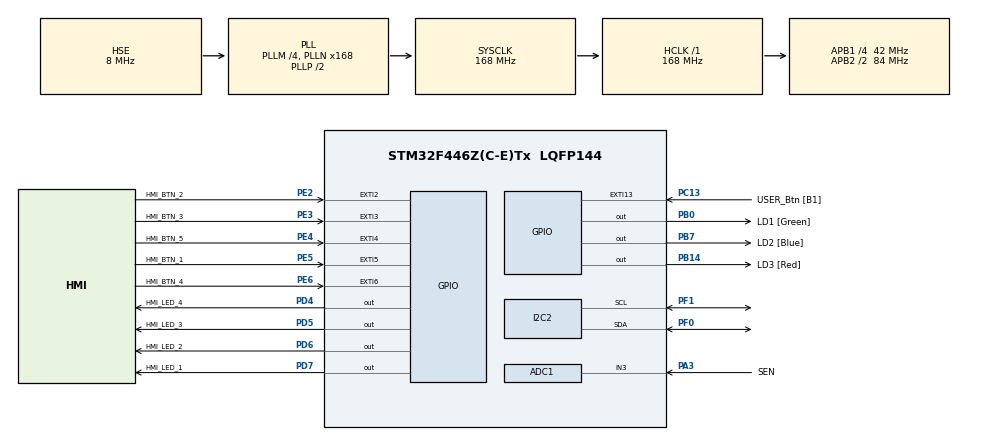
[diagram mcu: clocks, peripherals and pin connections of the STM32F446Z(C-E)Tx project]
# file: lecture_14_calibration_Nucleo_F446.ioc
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ADC1.Channel-0\#ChannelRegularConversion=ADC_CHANNEL_3
ADC1.NbrOfConversionFlag=1
ADC1.Rank-0\#ChannelRegularConversion=1
ADC1.SamplingTime-0\#ChannelRegularConversion=ADC_SAMPLETIME_3CYCLES
ADC1.master=1
Mcu.Family=STM32F4
Mcu.Name=STM32F446Z(C-E)Tx
Mcu.Package=LQFP144
NVIC.EXTI15_10_IRQn=true\:0\:0\:false\:false\:true\:true\:true\:true
NVIC.EXTI2_IRQn=true\:0\:0\:false\:false\:true\:true\:true\:true
NVIC.EXTI3_IRQn=true\:0\:0\:false\:false\:true\:true\:true\:true
NVIC.EXTI4_IRQn=true\:0\:0\:false\:false\:true\:true\:true\:true
NVIC.EXTI9_5_IRQn=true\:0\:0\:false\:false\:true\:true\:true\:true
NVIC.PriorityGroup=NVIC_PRIORITYGROUP_4
NVIC.TIM1_UP_TIM10_IRQn=true\:0\:0\:false\:false\:true\:true\:true\:true
PA13.Mode=Serial_Wire
PA13.Signal=SYS_JTMS-SWDIO
PA14.Mode=Serial_Wire
PA14.Signal=SYS_JTCK-SWCLK
PA3.GPIO_Label=SEN
PA3.Signal=ADCx_IN3
PB0.GPIO_Label=LD1 [Green]
PB0.Signal=GPIO_Output
PB14.GPIO_Label=LD3 [Red]
PB14.Signal=GPIO_Output
PB7.GPIO_Label=LD2 [Blue]
PB7.Signal=GPIO_Output
PC13.GPIO_Label=USER_Btn [B1]
PC13.Signal=GPXTI13
PC14-OSC32_IN.Mode=LSE-External-Oscillator
PC14-OSC32_IN.Signal=RCC_OSC32_IN
PC15-OSC32_OUT.Mode=LSE-External-Oscillator
PC15-OSC32_OUT.Signal=RCC_OSC32_OUT
PD4.GPIO_Label=HMI_LED_4
PD4.GPIO_ModeDefaultOutputPP=GPIO_MODE_OUTPUT_PP
PD4.GPIO_PuPd=GPIO_NOPULL
PD4.GPIO_Speed=GPIO_SPEED_FREQ_LOW
PD4.PinState=GPIO_PIN_RESET
PD4.Signal=GPIO_Output
PD5.GPIO_Label=HMI_LED_3
PD5.GPIO_ModeDefaultOutputPP=GPIO_MODE_OUTPUT_PP
PD5.GPIO_PuPd=GPIO_NOPULL
PD5.GPIO_Speed=GPIO_SPEED_FREQ_LOW
PD5.PinState=GPIO_PIN_RESET
PD5.Signal=GPIO_Output
PD6.GPIO_Label=HMI_LED_2
PD6.GPIO_ModeDefaultOutputPP=GPIO_MODE_OUTPUT_PP
PD6.GPIO_PuPd=GPIO_NOPULL
PD6.GPIO_Speed=GPIO_SPEED_FREQ_LOW
PD6.PinState=GPIO_PIN_RESET
PD6.Signal=GPIO_Output
PD7.GPIO_Label=HMI_LED_1
PD7.GPIO_ModeDefaultOutputPP=GPIO_MODE_OUTPUT_PP
PD7.GPIO_PuPd=GPIO_NOPULL
PD7.GPIO_Speed=GPIO_SPEED_FREQ_LOW
PD7.PinState=GPIO_PIN_RESET
PD7.Signal=GPIO_Output
PE2.GPIO_Label=HMI_BTN_2
PE2.GPIO_ModeDefaultEXTI=GPIO_MODE_IT_RISING_FALLING
PE2.GPIO_PuPd=GPIO_PULLDOWN
PE2.Signal=GPXTI2
PE3.GPIO_Label=HMI_BTN_3
PE3.GPIO_ModeDefaultEXTI=GPIO_MODE_IT_RISING_FALLING
PE3.GPIO_PuPd=GPIO_PULLDOWN
PE3.Signal=GPXTI3
PE4.GPIO_Label=HMI_BTN_5
PE4.GPIO_ModeDefaultEXTI=GPIO_MODE_IT_RISING_FALLING
PE4.GPIO_PuPd=GPIO_PULLDOWN
PE4.Signal=GPXTI4
PE5.GPIO_Label=HMI_BTN_1
PE5.GPIO_ModeDefaultEXTI=GPIO_MODE_IT_RISING_FALLING
PE5.GPIO_PuPd=GPIO_PULLDOWN
PE5.Signal=GPXTI5
PE6.GPIO_Label=HMI_BTN_4
PE6.GPIO_ModeDefaultEXTI=GPIO_MODE_IT_RISING_FALLING
PE6.GPIO_PuPd=GPIO_PULLDOWN
PE6.Signal=GPXTI6
PF0.Mode=I2C
PF0.Signal=I2C2_SDA
PF1.Mode=I2C
PF1.Signal=I2C2_SCL
PH0-OSC_IN.Mode=HSE-External-Clock-Source
PH0-OSC_IN.Signal=RCC_OSC_IN
PH1-OSC_OUT.Mode=HSE-External-Clock-Source
PH1-OSC_OUT.Signal=RCC_OSC_OUT
ProjectManager.HeapSize=0x200
ProjectManager.StackSize=0x400
ProjectManager.TargetToolchain=STM32CubeIDE
RCC.48MHZClocksFreq_Value=24000000
RCC.AHBFreq_Value=168000000
RCC.APB1CLKDivider=RCC_HCLK_DIV4
RCC.APB1Freq_Value=42000000
RCC.APB1TimFreq_Value=84000000
RCC.APB2CLKDivider=RCC_HCLK_DIV2
RCC.APB2Freq_Value=84000000
RCC.APB2TimFreq_Value=168000000
RCC.CortexFreq_Value=168000000
RCC.HCLKFreq_Value=168000000
RCC.HSE_VALUE=8000000
RCC.HSI_VALUE=16000000
RCC.PLLM=4
RCC.PLLMUL=RCC_PLL_MUL9
RCC.PLLN=168
RCC.PLLQ=7
RCC.PLLSourceVirtual=RCC_PLLSOURCE_HSE
RCC.PRESCALERUSB=RCC_USBCLKSOURCE_PLL_DIV1_5
RCC.SYSCLKFreq_VALUE=168000000
RCC.SYSCLKSource=RCC_SYSCLKSOURCE_PLLCLK
RCC.SYSCLKSourceVirtual=RCC_SYSCLKSOURCE_PLLCLK
RCC.USBFreq_Value=48000000
RCC.VCOOutputFreq_Value=336000000
SH.ADCx_IN3.0=ADC1_IN3,IN3
TIM1.Period=500-1
TIM1.Prescaler=16800-1
VP_TIM1_VS_ClockSourceINT.Mode=Internal
board=NUCLEO-F446ZE

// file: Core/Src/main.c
/* USER CODE BEGIN Header */
/**
  ******************************************************************************
  * @file           : main.c
  * @brief          : Main program body
  ******************************************************************************
  * @attention
  *
  * Copyright (c) 2024 STMicroelectronics.
  * All rights reserved.
  *
  * This software is licensed under terms that can be found in the LICENSE file
  * in the root directory of this software component.
  * If no LICENSE file comes with this software, it is provided AS-IS.
  *
  ******************************************************************************
  */
/* USER CODE END Header */
#include "main.h"
#include "adc.h"
#include "i2c.h"
#include "tim.h"
#include "gpio.h"

/* USER CODE BEGIN Includes */
#include "stdbool.h"
#include "OLED.h"
#include "thermistor_misc.h"
/* USER CODE END Includes */

/* USER CODE BEGIN PV */

// display modes
enum Screen
{
	SCRN_Start = 0,
	SCRN_ADC = 1,
};

//display visualization modes
enum ADC_DisplayMode
{
	DM_Temp = 0,
	DM_Diff = 1,
	DM_ConvRes = 2
};

// number of display modes and visualization modes
const unsigned int NUMBER_OF_WORKING_MODES = 2;
const unsigned int NUMBER_OF_DISPLAY_MODES = 3;

// default display and visualization mode
unsigned short current_screen = SCRN_Start;
unsigned short display_mode = DM_Temp;

//variable to store the adc result
uint32_t adc_result = 0;

//variables to store the calculated temperature and correction
float temperature_calculated = 0.0;
float temperature_correction = 0.0;

// variable to store the state of the buttons
bool button_state = true;

/* USER CODE END PV */

void SystemClock_Config(void);

/* USER CODE BEGIN 0 */

// A-D conversion and show the current display
void ConvertAndDisplay()
{
	// variable to store the cumulated adc result
	float cumulated_result = 0.0;

	// number of the samples in the adc conversion
	const unsigned int SAMPLE_NUMBER = 16;
	// variable to check the success of the communication
	HAL_StatusTypeDef error_code = HAL_OK;
	for (unsigned int i = 0;i < SAMPLE_NUMBER;++i)
	{
		// start the analogue-digital conversion
		HAL_ADC_Start(&hadc1);
		error_code = HAL_ADC_PollForConversion(&hadc1, 100);
		if (error_code != HAL_OK)
		{
			DisplayTextAndInteger("Error:", error_code, NoUnit);
			HAL_Delay(1000);
			break;
		}
		cumulated_result += HAL_ADC_GetValue(&hadc1);
	}
	// check the success of the communication
	if (error_code != HAL_OK)
	{
		return;
	}
	// calculate the averaged adc value
	adc_result = cumulated_result/SAMPLE_NUMBER;
	// calculate the temperature from the adc result
	temperature_calculated = CalculateTemperature(adc_result);
	// temperature correction with the calculated correction value
	float temperature = temperature_calculated + temperature_correction;

	// show the result based on the actual visualization mode
	if (display_mode == DM_Temp)
	{
		DisplayTextAndFloat("Temp:", temperature, Celsius);
	}
	else if (display_mode == DM_Diff)
	{
		DisplayTextAndFloat("Diff:", temperature_correction, Celsius);
	}
	else if (display_mode == DM_ConvRes)
	{
		DisplayTextAndInteger("ADC:",  adc_result, NoUnit);
	}
}

/* USER CODE END 0 */

int main(void)
{

  /* MCU Configuration--------------------------------------------------------*/

  /* Reset of all peripherals, Initializes the Flash interface and the Systick. */
  HAL_Init();

  /* Configure the system clock */
  SystemClock_Config();

  /* Initialize all configured peripherals */
  MX_GPIO_Init();
  MX_ADC1_Init();
  MX_TIM1_Init();
  MX_I2C2_Init();
  /* USER CODE BEGIN 2 */

  OLED_SelectDisplay(Display_1);
  OLED_Init();

  /* USER CODE END 2 */

  /* Infinite loop */
  /* USER CODE BEGIN WHILE */
  while (1)
  {
	  // State machine
	  switch (current_screen)
	  {
	  case SCRN_Start:
		  DisplayText("Start", "screen", NoUnit);
		  HAL_Delay(500);
		  break;
	  case SCRN_ADC:
		  ConvertAndDisplay();
		  HAL_Delay(500);
		  break;
	  default:
		  DisplayText("Unknown", "screen", NoUnit);
		  HAL_Delay(500);
		  break;
	  }
    /* USER CODE END WHILE */

  }
}

void SystemClock_Config(void)
{
  RCC_OscInitTypeDef RCC_OscInitStruct = {0};
  RCC_ClkInitTypeDef RCC_ClkInitStruct = {0};

  /** Configure the main internal regulator output voltage
  */
  __HAL_RCC_PWR_CLK_ENABLE();
  __HAL_PWR_VOLTAGESCALING_CONFIG(PWR_REGULATOR_VOLTAGE_SCALE1);

  /** Initializes the RCC Oscillators according to the specified parameters
  * in the RCC_OscInitTypeDef structure.
  */
  RCC_OscInitStruct.OscillatorType = RCC_OSCILLATORTYPE_HSE;
  RCC_OscInitStruct.HSEState = RCC_HSE_BYPASS;
  RCC_OscInitStruct.PLL.PLLState = RCC_PLL_ON;
  RCC_OscInitStruct.PLL.PLLSource = RCC_PLLSOURCE_HSE;
  RCC_OscInitStruct.PLL.PLLM = 4;
  RCC_OscInitStruct.PLL.PLLN = 168;
  RCC_OscInitStruct.PLL.PLLP = RCC_PLLP_DIV2;
  RCC_OscInitStruct.PLL.PLLQ = 7;
  RCC_OscInitStruct.PLL.PLLR = 2;
  if (HAL_RCC_OscConfig(&RCC_OscInitStruct) != HAL_OK)
  {
    Error_Handler();
  }

  /** Initializes the CPU, AHB and APB buses clocks
  */
  RCC_ClkInitStruct.ClockType = RCC_CLOCKTYPE_HCLK|RCC_CLOCKTYPE_SYSCLK
                              |RCC_CLOCKTYPE_PCLK1|RCC_CLOCKTYPE_PCLK2;
  RCC_ClkInitStruct.SYSCLKSource = RCC_SYSCLKSOURCE_PLLCLK;
  RCC_ClkInitStruct.AHBCLKDivider = RCC_SYSCLK_DIV1;
  RCC_ClkInitStruct.APB1CLKDivider = RCC_HCLK_DIV4;
  RCC_ClkInitStruct.APB2CLKDivider = RCC_HCLK_DIV2;

  if (HAL_RCC_ClockConfig(&RCC_ClkInitStruct, FLASH_LATENCY_5) != HAL_OK)
  {
    Error_Handler();
  }
}

/* USER CODE BEGIN 4 */

//timer based button debouncing
void HAL_GPIO_EXTI_Callback(uint16_t GPIO_Pin)
{
	//start timer if the corresponding button has been pressed and no button press is in progress
	if ((GPIO_Pin == HMI_BTN_5_Pin || GPIO_Pin == HMI_BTN_4_Pin || GPIO_Pin == HMI_BTN_3_Pin || GPIO_Pin == HMI_BTN_2_Pin || GPIO_Pin == HMI_BTN_1_Pin) && button_state == true)
	{
		//start the timer
		HAL_TIM_Base_Start_IT(&htim1);
		//disable the buttons
		button_state = false;
	}
	else
	{
		__NOP();
	}
}

// button management
void HAL_TIM_PeriodElapsedCallback(TIM_HandleTypeDef *htim)
{
	// switching between screens
	if (HAL_GPIO_ReadPin(HMI_BTN_1_GPIO_Port, HMI_BTN_1_Pin) == GPIO_PIN_SET)
	{
		current_screen = (current_screen + 1) % NUMBER_OF_WORKING_MODES;
	}
	else if (HAL_GPIO_ReadPin(HMI_BTN_5_GPIO_Port, HMI_BTN_5_Pin) == GPIO_PIN_SET)
	{
		current_screen = (current_screen + NUMBER_OF_WORKING_MODES - 1) % NUMBER_OF_WORKING_MODES;
	}
	// switching between screen visualization modes
	else if (HAL_GPIO_ReadPin(HMI_BTN_4_GPIO_Port, HMI_BTN_4_Pin) == GPIO_PIN_SET && current_screen == SCRN_ADC)
	{
		display_mode = (display_mode + 1) % NUMBER_OF_DISPLAY_MODES;
	}
	else if (HAL_GPIO_ReadPin(HMI_BTN_2_GPIO_Port, HMI_BTN_2_Pin) == GPIO_PIN_SET && current_screen == SCRN_ADC)
	{
		display_mode = (display_mode + NUMBER_OF_DISPLAY_MODES - 1) % NUMBER_OF_DISPLAY_MODES;
	}
	// start the operation
	else if (HAL_GPIO_ReadPin(HMI_BTN_3_GPIO_Port, HMI_BTN_3_Pin) == GPIO_PIN_SET)
	{
		// start the calibration in Temp display mode
		if (current_screen == SCRN_ADC && display_mode == DM_Temp)
		{
			// store the difference between the right and the measured value
			temperature_correction = 0.0 - temperature_calculated;
		}
		// reset the correction value in Diff display mode
		else if (current_screen == SCRN_ADC && display_mode == DM_Diff)
		{
			temperature_correction = 0.0;
		}
	}

	// stop the timer
	HAL_TIM_Base_Stop_IT(&htim1);
	// button enable
	button_state = true;
}
/* USER CODE END 4 */

void Error_Handler(void)
{
  __disable_irq();
  while (1)
  {
  }
}
